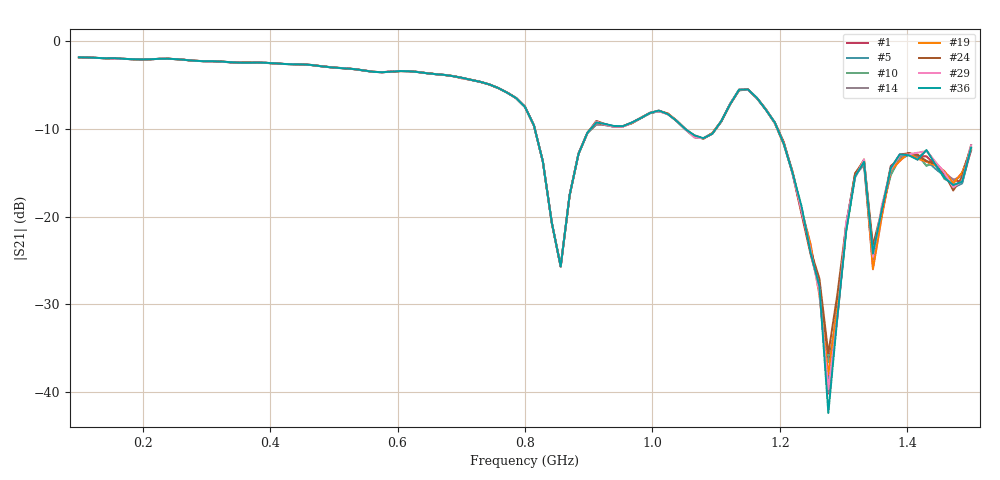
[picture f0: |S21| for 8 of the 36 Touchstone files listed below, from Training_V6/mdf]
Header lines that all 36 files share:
! NanoVNA-App
! Start: 100MHz Stop: 1,5GHz Points: 101
! S-Parameter data: F S11 S21 S12 S22
# Hz S RI R 50
!  Frequency  S11_Real  S11_Imag  S21_Real  S21_Imag  S12_Real  S12_Imag  S22_Real  S22_Imag
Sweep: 100 MHz to 1.5 GHz
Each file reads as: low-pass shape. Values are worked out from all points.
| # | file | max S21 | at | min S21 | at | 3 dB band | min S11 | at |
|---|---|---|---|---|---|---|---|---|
| 1 | mdf (2).s2p | -1.80 dB | 100 MHz | -40.2 dB | 1.276 GHz | 100 MHz-730 MHz | -39.0 dB | 128 MHz |
| 2 | mdf (3).s2p | -1.80 dB | 100 MHz | -39.2 dB | 1.276 GHz | 100 MHz-730 MHz | -39.0 dB | 128 MHz |
| 3 | mdf (4).s2p | -1.80 dB | 100 MHz | -39.1 dB | 1.276 GHz | 100 MHz-730 MHz | -39.0 dB | 128 MHz |
| 4 | mdf (5).s2p | -1.80 dB | 100 MHz | -40.4 dB | 1.276 GHz | 100 MHz-730 MHz | -39.0 dB | 128 MHz |
| 5 | mdf (6).s2p | -1.80 dB | 100 MHz | -38.9 dB | 1.276 GHz | 100 MHz-730 MHz | -38.9 dB | 128 MHz |
| 6 | mdf (7).s2p | -1.81 dB | 100 MHz | -41.4 dB | 1.276 GHz | 100 MHz-730 MHz | -38.7 dB | 128 MHz |
| 7 | mdf (8).s2p | -1.81 dB | 100 MHz | -39.4 dB | 1.276 GHz | 100 MHz-730 MHz | -38.7 dB | 128 MHz |
| 8 | mdf (9).s2p | -1.80 dB | 100 MHz | -41.9 dB | 1.276 GHz | 100 MHz-730 MHz | -38.8 dB | 128 MHz |
| 9 | mdf (11).s2p | -1.80 dB | 100 MHz | -42.5 dB | 1.276 GHz | 100 MHz-730 MHz | -38.9 dB | 128 MHz |
| 10 | mdf (12).s2p | -1.80 dB | 100 MHz | -36.6 dB | 1.276 GHz | 100 MHz-730 MHz | -39.0 dB | 128 MHz |
| 11 | mdf (13).s2p | -1.80 dB | 100 MHz | -38.5 dB | 1.276 GHz | 100 MHz-730 MHz | -38.9 dB | 128 MHz |
| 12 | mdf (14).s2p | -1.80 dB | 100 MHz | -40.3 dB | 1.276 GHz | 100 MHz-730 MHz | -39.0 dB | 128 MHz |
| 13 | mdf (15).s2p | -1.80 dB | 100 MHz | -41.0 dB | 1.276 GHz | 100 MHz-730 MHz | -38.9 dB | 128 MHz |
| 14 | mdf (16).s2p | -1.80 dB | 100 MHz | -40.1 dB | 1.276 GHz | 100 MHz-730 MHz | -39.0 dB | 128 MHz |
| 15 | mdf (17).s2p | -1.80 dB | 100 MHz | -37.0 dB | 1.276 GHz | 100 MHz-730 MHz | -39.0 dB | 128 MHz |
| 16 | mdf (18).s2p | -1.80 dB | 100 MHz | -40.5 dB | 1.276 GHz | 100 MHz-730 MHz | -39.0 dB | 128 MHz |
| 17 | mdf (19).s2p | -1.80 dB | 100 MHz | -41.2 dB | 1.276 GHz | 100 MHz-730 MHz | -39.0 dB | 128 MHz |
| 18 | mdf (20).s2p | -1.80 dB | 100 MHz | -39.3 dB | 1.276 GHz | 100 MHz-730 MHz | -39.0 dB | 128 MHz |
| 19 | mdf (21).s2p | -1.80 dB | 100 MHz | -38.0 dB | 1.276 GHz | 100 MHz-730 MHz | -38.9 dB | 128 MHz |
| 20 | mdf (22).s2p | -1.80 dB | 100 MHz | -39.6 dB | 1.276 GHz | 100 MHz-730 MHz | -39.0 dB | 128 MHz |
| 21 | mdf (23).s2p | -1.80 dB | 100 MHz | -39.1 dB | 1.276 GHz | 100 MHz-730 MHz | -39.0 dB | 128 MHz |
| 22 | mdf (24).s2p | -1.80 dB | 100 MHz | -37.3 dB | 1.276 GHz | 100 MHz-730 MHz | -39.0 dB | 128 MHz |
| 23 | mdf (25).s2p | -1.80 dB | 100 MHz | -38.3 dB | 1.276 GHz | 100 MHz-730 MHz | -39.0 dB | 128 MHz |
| 24 | mdf (26).s2p | -1.80 dB | 100 MHz | -35.6 dB | 1.276 GHz | 100 MHz-730 MHz | -39.0 dB | 128 MHz |
| 25 | mdf (27).s2p | -1.80 dB | 100 MHz | -36.1 dB | 1.276 GHz | 100 MHz-730 MHz | -39.0 dB | 128 MHz |
| 26 | mdf (28).s2p | -1.80 dB | 100 MHz | -41.6 dB | 1.276 GHz | 100 MHz-730 MHz | -39.0 dB | 128 MHz |
| 27 | mdf (30).s2p | -1.80 dB | 100 MHz | -37.7 dB | 1.276 GHz | 100 MHz-730 MHz | -39.0 dB | 128 MHz |
| 28 | mdf (31).s2p | -1.80 dB | 100 MHz | -43.8 dB | 1.276 GHz | 100 MHz-730 MHz | -39.0 dB | 128 MHz |
| 29 | mdf (32).s2p | -1.80 dB | 100 MHz | -39.7 dB | 1.276 GHz | 100 MHz-730 MHz | -39.0 dB | 128 MHz |
| 30 | mdf (33).s2p | -1.80 dB | 100 MHz | -38.2 dB | 1.276 GHz | 100 MHz-730 MHz | -39.0 dB | 128 MHz |
| 31 | mdf (34).s2p | -1.80 dB | 100 MHz | -39.8 dB | 1.276 GHz | 100 MHz-730 MHz | -39.0 dB | 128 MHz |
| 32 | mdf (35).s2p | -1.80 dB | 100 MHz | -37.7 dB | 1.276 GHz | 100 MHz-730 MHz | -39.0 dB | 128 MHz |
| 33 | mdf (36).s2p | -1.80 dB | 100 MHz | -41.0 dB | 1.276 GHz | 100 MHz-730 MHz | -39.0 dB | 128 MHz |
| 34 | mdf (37).s2p | -1.80 dB | 100 MHz | -43.4 dB | 1.276 GHz | 100 MHz-730 MHz | -39.0 dB | 128 MHz |
| 35 | mdf (39).s2p | -1.80 dB | 100 MHz | -38.3 dB | 1.276 GHz | 100 MHz-730 MHz | -39.0 dB | 128 MHz |
| 36 | mdf (40).s2p | -1.80 dB | 100 MHz | -42.4 dB | 1.276 GHz | 100 MHz-730 MHz | -39.0 dB | 128 MHz |
